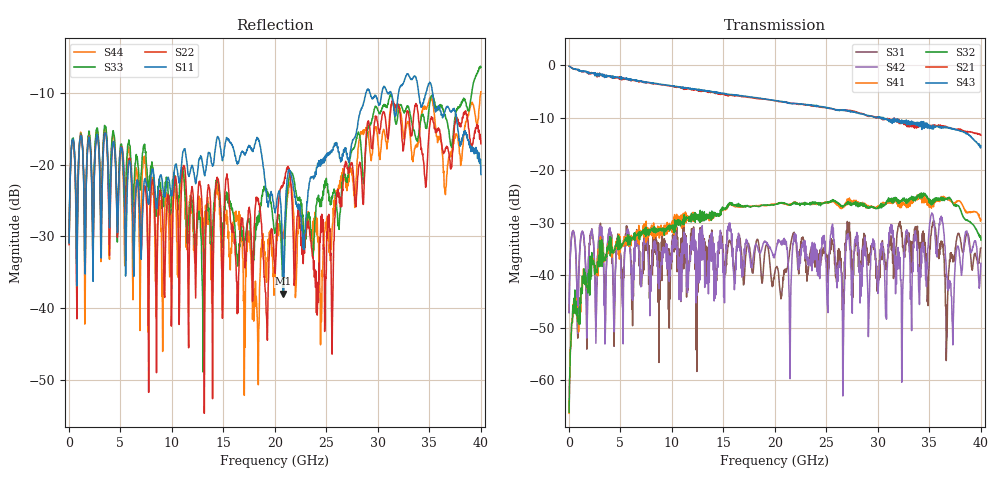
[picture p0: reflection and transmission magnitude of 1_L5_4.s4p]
! 7/15/2021 4:49:31 PM
! C:\USERS\VECTORSTARUSER\DESKTOP\SAMPLE\2021\PD7\18VPD7094DY\1-L5-4.S4P
! CHANNEL.1
! TR.MEASUREMENT
! CORRECTED.DATA
! RF.CORRECTION: FULL.FOUR.PORT.CAL.PORT.1.2.3.4
! AVERAGING.OFF
! IF.BANDWIDTH: 1KHZ
! SWEEPTYPE:  FREQ.SWEEP(Linear)
! Reference Plane Port Info
! PORT:  PORT1  PORT2  PORT3  PORT4
! DISTANCE:  0  m  0  m  0  m  0  m
! TIME:  0  s  0  s  0  s  0  s
! PHASE.OFFSET:  0 °  0 °  0 °  0 °
! LOSS:  0  dB  0  dB  0  dB  0  dB
! REF.LOSS:  0  dB  0  dB  0  dB  0  dB
! REF.FREQ:  0  Hz  0  Hz  0  Hz  0  Hz
! Power Info
! POWER:  -10  dBm  -10  dBm  -10  dBm  -10  dBm
! EFF.POWER:  -10  dBm  -10  dBm  -10  dBm  -10  dBm
# GHZ S RI R 50.0
! FREQ.GHZ  S11RE  S11IM  S12RE  S12IM  S13RE  S13IM  S14RE  S14IM
!  S21RE  S21IM  S22RE  S22IM  S23RE  S23IM  S24RE  S24IM
!  S31RE  S31IM  S32RE  S32IM  S33RE  S33IM  S34RE  S34IM
!  S41RE  S41IM  S42RE  S42IM  S43RE  S43IM  S44RE  S44IM
!; PortSelection: Port_1234
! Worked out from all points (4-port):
!   1000 points, 40 MHz to 40 GHz, reference 50 ohm
!   strongest paths, dB at 40 MHz, 10.04 GHz, 20.04 GHz, 30.04 GHz, 40 GHz:
!     S43: -0.2, -4.0, -6.7, -10.0, -15.4
!     S21: -0.2, -4.0, -6.8, -10.0, -13.3
!     S32: -66.1, -31.2, -26.5, -27.3, -33.3
!     S41: -66.3, -31.9, -26.5, -27.1, -29.4
!     S42: -47.1, -37.0, -36.1, -42.3, -37.8
!     S31: -47.1, -37.5, -39.0, -41.1, -34.8
!   lowest |S11| = -38.0 dB at 20.84 GHz (marker M1), VSWR 1.03, Z = 48.9 - j0.588 ohm
!   |S11| at or under -10 dB: start of sweep to 28.84 GHz; 29.22 GHz to 30.4 GHz (1.181 GHz wide, 3.96 % of centre); 35.32 GHz to end of sweep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
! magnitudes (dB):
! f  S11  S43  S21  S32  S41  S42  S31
! 40 MHz  -30.9  -0.2  -0.2  -66.1  -66.3  -47.1  -47.1
! 3.08 GHz  -26.6  -1.8  -1.9  -33.9  -32.7  -31.2  -30.1
! 19.2 GHz  -24.4  -6.5  -6.5  -26.7  -26.8  -33.7  -34.2
! 20.84 GHz  -38.0  -7.0  -7.0  -26.4  -26.4  -33.2  -40.9
! 24.12 GHz  -20.4  -7.9  -7.9  -26.4  -26.5  -35.3  -36.7
! 32.84 GHz  -7.4  -10.7  -11.7  -25.8  -26.4  -31.5  -32.9
! 40 GHz  -21.4  -15.4  -13.3  -33.3  -29.4  -37.8  -34.8
